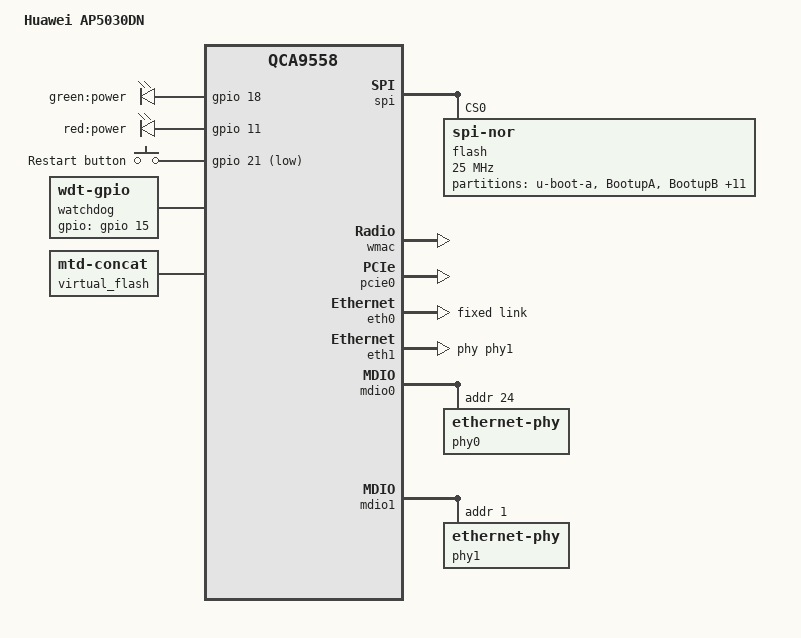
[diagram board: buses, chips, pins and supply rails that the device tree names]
// SPDX-License-Identifier: GPL-2.0-or-later OR MIT

#include "qca955x.dtsi"

#include <dt-bindings/gpio/gpio.h>
#include <dt-bindings/input/input.h>
#include <dt-bindings/leds/common.h>

/ {
	model = "Huawei AP5030DN";
	compatible = "huawei,ap5030dn", "qca,qca9550", "qca,qca9558";

	chosen {
		bootargs = "console=ttyS0,9600n8";
	};

	aliases {
		led-boot = &led_power_red;
		led-failsafe = &led_power_red;
		led-running = &led_power_green;
		led-upgrade = &led_power_red;
	};

	leds {
		compatible = "gpio-leds";

		led_power_green: power_green {
			label = "green:power";
			gpios = <&gpio 18 GPIO_ACTIVE_HIGH>;
			default-state = "on";
		};

		led_power_red: power_red {
			label = "red:power";
			gpios = <&gpio 11 GPIO_ACTIVE_HIGH>;
		};

	};

	keys {
		compatible = "gpio-keys";

		restart {
			label = "Restart button";
			linux,code = <KEY_RESTART>;
			gpios = <&gpio 21 GPIO_ACTIVE_LOW>;
			debounce-interval = <60>;
		};
	};

	watchdog {
		compatible = "linux,wdt-gpio";
		gpios = <&gpio 15 GPIO_ACTIVE_HIGH>;
		hw_algo = "toggle";
		hw_margin_ms = <100>;
		always-running;
	};

	virtual_flash {
		compatible = "mtd-concat";
		devices = <&fwconcat0 &fwconcat1>;

		partitions {
			compatible = "fixed-partitions";
			#address-cells = <1>;
			#size-cells = <1>;

			partition@0 {
				label = "firmware";
				reg = <0x0 0x1800000>;
				compatible = "openwrt,uimage", "denx,uimage";
			};
		};
	};
};

&spi {
	status = "okay";

	flash@0 {
		compatible = "jedec,spi-nor";
		reg = <0>;
		spi-max-frequency = <25000000>;

		partitions {
			compatible = "fixed-partitions";
			#address-cells = <1>;
			#size-cells = <1>;

			partition@0 {
				label = "u-boot-a";
				reg = <0x0 0x80000>;
				read-only;
			};

			partition@80000 {
				label = "BootupA";
				reg = <0x80000 0x20000>;
			};

			partition@a0000 {
				label = "BootupB";
				reg = <0xa0000 0x20000>;
			};

			partition@c0000 {
				label = "u-boot-env";
				reg = <0xc0000 0x20000>;
				read-only;
			};

			partition@e0000 {
				label = "BoardData";
				reg = <0xe0000 0x20000>;
				read-only;
			};

			fwconcat0: partition@100000 {
				label = "fwconcat0";
				reg = <0x100000 0xc00000>;
			};

			partition@d00000 {
				label = "configA";
				reg = <0xd00000 0x300000>;
			};

			partition@1000000 {
				label = "u-boot-b";
				reg = <0x1000000 0x80000>;
				read-only;
			};

			partition@1080000 {
				label = "ResultA";
				reg = <0x1080000 0x20000>;
				read-only;
			};

			partition@10a0000 {
				label = "ResultB";
				reg = <0x10a0000 0x20000>;
				read-only;
			};

			fwconcat1: partition@10c0000 {
				label = "fwconcat1";
				reg = <0x10c0000 0xc00000>;
			};

			partition@1cc0000 {
				label = "configB";
				reg = <0x1cc0000 0x300000>;
			};

			art: partition@1fc0000 {
				label = "art";
				reg = <0x1fc0000 0x40000>;
				read-only;
			};

			partition_flashAll {
				label = "flashAll";
				reg = <0x0 0x2000000>;
				read-only;
			};
		};
	};
};


&wmac {
	status = "okay";

	nvmem-cells = <&calibration_art_1000>;
	nvmem-cell-names = "calibration";
};

&pcie0 {
	status = "okay";
};

&eth0 {
	status = "okay";

	nvmem-cells = <&macaddr_art_2005b>;
	nvmem-cell-names = "mac-address";

	pll-data = <0xa6000000 0x80000101 0x80001313>;

	fixed-link {
		speed = <1000>;
		full-duplex;
	};
};

&eth1 {
	status = "okay";

	nvmem-cells = <&macaddr_art_2005b>;
	nvmem-cell-names = "mac-address";

	pll-data = <0x03000101 0x00000101 0x00001313>;
	phy-handle = <&phy1>;
};

&mdio0 {
	status = "okay";

	phy0: ethernet-phy@18 {
		reg = <0x18>;
	};
};

&mdio1 {
	status = "okay";

	phy1: ethernet-phy@1 {
		reg = <1>;
	};
};

&art {
	compatible = "nvmem-cells";
	#address-cells = <1>;
	#size-cells = <1>;

	calibration_art_1000: calibration@1000 {
		reg = <0x1000 0x440>;
	};

	calibration_art_5000: calibration@5000 {
		reg = <0x5000 0x844>;
	};

	macaddr_art_2005b: macaddr@2005b {
		reg = <0x2005b 0x6>;
	};
};
